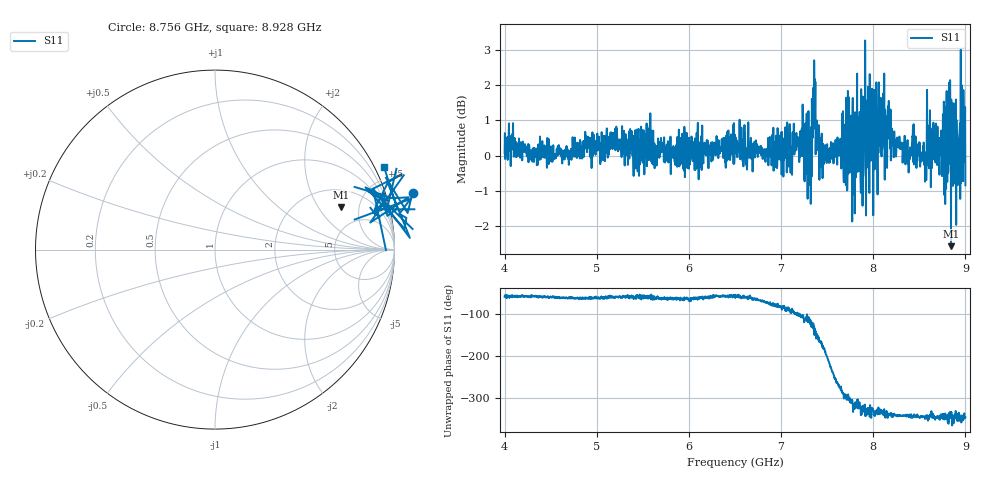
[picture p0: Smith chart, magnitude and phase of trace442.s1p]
! Created with skrf 1.8.0 (http://scikit-rf.org).
# Hz S RI R 50.0
!freq ReS11 ImS11
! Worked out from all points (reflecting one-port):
!   1601 points, 4 GHz to 9 GHz, reference 50 ohm
!   lowest |S11| = -2.6 dB at 8.844 GHz (marker M1), VSWR 6.76, Z = 157 + j165 ohm
!   phase of S11 starts at -59 deg and turns -285 deg over the sweep
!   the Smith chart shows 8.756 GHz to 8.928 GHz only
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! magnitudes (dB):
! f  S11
! 4 GHz  0.1
! 4.625 GHz  -0.2
! 5.25 GHz  0.3
! 5.875 GHz  0.5
! 6.5 GHz  0.4
! 7.125 GHz  0.7
! 7.222 GHz  0.6
! 7.266 GHz  0.9
! 7.288 GHz  -1.2
! 7.306 GHz  0.6
! 7.359 GHz  2.7
! 7.441 GHz  0.6
! 7.75 GHz  -0.5
! 7.791 GHz  -0.3
! 7.828 GHz  -0.5
! 7.881 GHz  1.0
! 7.928 GHz  1.6
! 8.022 GHz  1.0
! 8.097 GHz  0.2
! 8.375 GHz  0.0
! 8.441 GHz  -0.3
! 8.553 GHz  -0.1
! 8.606 GHz  -0.4
! 8.725 GHz  0.5
! 8.844 GHz  -2.6
! 8.919 GHz  -0.2
! 8.972 GHz  0.7
! 9 GHz  -0.9
